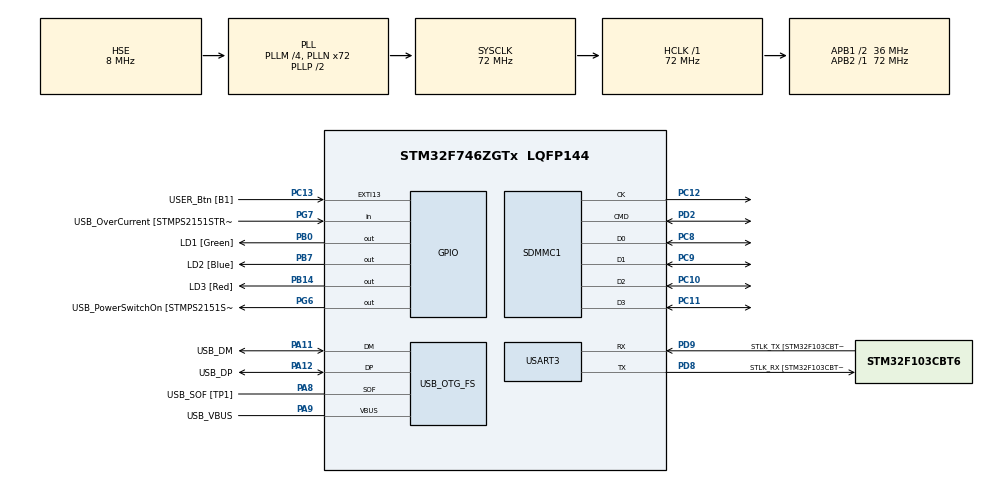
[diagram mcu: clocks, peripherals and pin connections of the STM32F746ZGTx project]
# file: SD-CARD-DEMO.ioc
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Dma.Request0=SDMMC1_RX
Dma.Request1=SDMMC1_TX
Dma.SDMMC1_RX.0.Direction=DMA_PERIPH_TO_MEMORY
Dma.SDMMC1_RX.0.FIFOMode=DMA_FIFOMODE_ENABLE
Dma.SDMMC1_RX.0.FIFOThreshold=DMA_FIFO_THRESHOLD_FULL
Dma.SDMMC1_RX.0.Instance=DMA2_Stream3
Dma.SDMMC1_RX.0.MemBurst=DMA_MBURST_INC4
Dma.SDMMC1_RX.0.MemDataAlignment=DMA_MDATAALIGN_WORD
Dma.SDMMC1_RX.0.MemInc=DMA_MINC_ENABLE
Dma.SDMMC1_RX.0.Mode=DMA_PFCTRL
Dma.SDMMC1_RX.0.PeriphBurst=DMA_PBURST_INC4
Dma.SDMMC1_RX.0.PeriphDataAlignment=DMA_PDATAALIGN_WORD
Dma.SDMMC1_RX.0.PeriphInc=DMA_PINC_DISABLE
Dma.SDMMC1_RX.0.Priority=DMA_PRIORITY_LOW
Dma.SDMMC1_TX.1.Direction=DMA_MEMORY_TO_PERIPH
Dma.SDMMC1_TX.1.FIFOMode=DMA_FIFOMODE_ENABLE
Dma.SDMMC1_TX.1.FIFOThreshold=DMA_FIFO_THRESHOLD_FULL
Dma.SDMMC1_TX.1.Instance=DMA2_Stream6
Dma.SDMMC1_TX.1.MemBurst=DMA_MBURST_INC4
Dma.SDMMC1_TX.1.MemDataAlignment=DMA_MDATAALIGN_WORD
Dma.SDMMC1_TX.1.MemInc=DMA_MINC_ENABLE
Dma.SDMMC1_TX.1.Mode=DMA_PFCTRL
Dma.SDMMC1_TX.1.PeriphBurst=DMA_PBURST_INC4
Dma.SDMMC1_TX.1.PeriphDataAlignment=DMA_PDATAALIGN_WORD
Dma.SDMMC1_TX.1.PeriphInc=DMA_PINC_DISABLE
Dma.SDMMC1_TX.1.Priority=DMA_PRIORITY_LOW
FATFS.USE_DMA_CODE_SD=1
Mcu.Family=STM32F7
Mcu.Name=STM32F746ZGTx
Mcu.Package=LQFP144
NVIC.DMA2_Stream3_IRQn=true\:0\:0\:false\:false\:true\:false\:true
NVIC.DMA2_Stream6_IRQn=true\:0\:0\:false\:false\:true\:false\:true
NVIC.PriorityGroup=NVIC_PRIORITYGROUP_4
NVIC.SDMMC1_IRQn=true\:0\:0\:false\:false\:true\:true\:true
PA1.GPIO_Label=RMII_REF_CLK [LAN8742A-CZ-TR_REFCLK0]
PA1.Signal=ETH_REF_CLK
PA10.GPIO_Label=USB_ID
PA10.Signal=USB_OTG_FS_ID
PA11.GPIO_Label=USB_DM
PA11.Mode=Device_Only
PA11.Signal=USB_OTG_FS_DM
PA12.GPIO_Label=USB_DP
PA12.Mode=Device_Only
PA12.Signal=USB_OTG_FS_DP
PA13.GPIO_Label=TMS
PA13.Mode=Serial_Wire
PA13.Signal=SYS_JTMS-SWDIO
PA14.GPIO_Label=TCK
PA14.Mode=Serial_Wire
PA14.Signal=SYS_JTCK-SWCLK
PA2.GPIO_Label=RMII_MDIO [LAN8742A-CZ-TR_MDIO]
PA2.Signal=ETH_MDIO
PA7.GPIO_Label=RMII_CRS_DV [LAN8742A-CZ-TR_CRS_DV]
PA7.Signal=ETH_CRS_DV
PA8.GPIO_Label=USB_SOF [TP1]
PA8.Mode=Activate_SOF_FS
PA8.Signal=USB_OTG_FS_SOF
PA9.GPIO_Label=USB_VBUS
PA9.Mode=Activate_VBUS
PA9.Signal=USB_OTG_FS_VBUS
PB0.GPIO_Label=LD1 [Green]
PB0.Signal=GPIO_Output
PB13.GPIO_Label=RMII_TXD1 [LAN8742A-CZ-TR_TXD1]
PB13.Signal=ETH_TXD1
PB14.GPIO_Label=LD3 [Red]
PB14.Signal=GPIO_Output
PB3.GPIO_Label=SW0
PB3.Signal=SYS_JTDO-SWO
PB7.GPIO_Label=LD2 [Blue]
PB7.Signal=GPIO_Output
PC1.GPIO_Label=RMII_MDC [LAN8742A-CZ-TR_MDC]
PC1.Signal=ETH_MDC
PC10.GPIO_PuPd=GPIO_NOPULL
PC10.Mode=SD_4_bits_Wide_bus
PC10.Signal=SDMMC1_D2
PC11.GPIO_PuPd=GPIO_NOPULL
PC11.Mode=SD_4_bits_Wide_bus
PC11.Signal=SDMMC1_D3
PC12.GPIO_PuPd=GPIO_NOPULL
PC12.Mode=SD_4_bits_Wide_bus
PC12.Signal=SDMMC1_CK
PC13.GPIO_Label=USER_Btn [B1]
PC13.Signal=GPXTI13
PC14/OSC32_IN.Mode=LSE-External-Oscillator
PC14/OSC32_IN.Signal=RCC_OSC32_IN
PC15/OSC32_OUT.Mode=LSE-External-Oscillator
PC15/OSC32_OUT.Signal=RCC_OSC32_OUT
PC4.GPIO_Label=RMII_RXD0 [LAN8742A-CZ-TR_RXD0]
PC4.Signal=ETH_RXD0
PC5.GPIO_Label=RMII_RXD1 [LAN8742A-CZ-TR_RXD1]
PC5.Signal=ETH_RXD1
PC8.GPIO_PuPd=GPIO_NOPULL
PC8.Mode=SD_4_bits_Wide_bus
PC8.Signal=SDMMC1_D0
PC9.GPIO_PuPd=GPIO_NOPULL
PC9.Mode=SD_4_bits_Wide_bus
PC9.Signal=SDMMC1_D1
PD2.GPIO_PuPd=GPIO_NOPULL
PD2.Mode=SD_4_bits_Wide_bus
PD2.Signal=SDMMC1_CMD
PD8.GPIO_Label=STLK_RX [STM32F103CBT6_PA3]
PD8.Mode=Asynchronous
PD8.Signal=USART3_TX
PD9.GPIO_Label=STLK_TX [STM32F103CBT6_PA2]
PD9.Mode=Asynchronous
PD9.Signal=USART3_RX
PG11.GPIO_Label=RMII_TX_EN [LAN8742A-CZ-TR_TXEN]
PG11.Signal=ETH_TX_EN
PG13.GPIO_Label=RMII_TXD0 [LAN8742A-CZ-TR_TXD0]
PG13.Signal=ETH_TXD0
PG6.GPIO_Label=USB_PowerSwitchOn [STMPS2151STR_EN]
PG6.Signal=GPIO_Output
PG7.GPIO_Label=USB_OverCurrent [STMPS2151STR_FAULT]
PG7.Signal=GPIO_Input
PH0/OSC_IN.GPIO_Label=MCO [STM32F103CBT6_PA8]
PH0/OSC_IN.Mode=HSE-External-Clock-Source
PH0/OSC_IN.Signal=RCC_OSC_IN
PH1/OSC_OUT.Mode=HSE-External-Clock-Source
PH1/OSC_OUT.Signal=RCC_OSC_OUT
ProjectManager.HeapSize=0x200
ProjectManager.StackSize=0x400
ProjectManager.TargetToolchain=STM32CubeIDE
RCC.48MHZClocksFreq_Value=24000000
RCC.AHBFreq_Value=72000000
RCC.APB1CLKDivider=RCC_HCLK_DIV2
RCC.APB1Freq_Value=36000000
RCC.APB1TimFreq_Value=72000000
RCC.APB2Freq_Value=72000000
RCC.APB2TimFreq_Value=72000000
RCC.CortexFreq_Value=72000000
RCC.EnbaleCSS=true
RCC.HCLKFreq_Value=72000000
RCC.HSE_VALUE=8000000
RCC.HSI_VALUE=16000000
RCC.PLLM=4
RCC.PLLMUL=RCC_PLL_MUL9
RCC.PLLN=72
RCC.PLLQ=3
RCC.PRESCALERUSB=RCC_USBCLKSOURCE_PLL_DIV1_5
RCC.SDMMCClockSelection=RCC_SDMMC1CLKSOURCE_CLK48
RCC.SYSCLKFreq_VALUE=72000000
RCC.SYSCLKSource=RCC_SYSCLKSOURCE_PLLCLK
RCC.SYSCLKSourceVirtual=RCC_SYSCLKSOURCE_PLLCLK
RCC.USBFreq_Value=48000000
RCC.VCOOutputFreq_Value=144000000
SDMMC1.ClockBypass=SDMMC_CLOCK_BYPASS_DISABLE
SDMMC1.ClockDiv=4
USART3.VirtualMode-Asynchronous=VM_ASYNC
USB_OTG_FS.VirtualMode=Device_Only
VP_FATFS_VS_SDIO.Mode=SDIO
board=NUCLEO-F746ZG

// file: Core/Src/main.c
/* USER CODE BEGIN Header */
/**
  ******************************************************************************
  * @file           : main.c
  * @brief          : Main program body
  ******************************************************************************
  * @attention
  *
  * Copyright (c) 2022 STMicroelectronics.
  * All rights reserved.
  *
  * This software is licensed under terms that can be found in the LICENSE file
  * in the root directory of this software component.
  * If no LICENSE file comes with this software, it is provided AS-IS.
  *
  ******************************************************************************
  */
/* USER CODE END Header */
#include "main.h"
#include "fatfs.h"

SD_HandleTypeDef hsd1;
DMA_HandleTypeDef hdma_sdmmc1_rx;
DMA_HandleTypeDef hdma_sdmmc1_tx;

UART_HandleTypeDef huart3;

PCD_HandleTypeDef hpcd_USB_OTG_FS;

void SystemClock_Config(void);
static void MX_GPIO_Init(void);
static void MX_USART3_UART_Init(void);
static void MX_USB_OTG_FS_PCD_Init(void);
static void MX_DMA_Init(void);
static void MX_SDMMC1_SD_Init(void);
/* USER CODE BEGIN PFP */
FRESULT init_file_system();
/* USER CODE END PFP */

int main(void)
{

  /* MCU Configuration--------------------------------------------------------*/

  /* Reset of all peripherals, Initializes the Flash interface and the Systick. */
  HAL_Init();

  /* Configure the system clock */
  SystemClock_Config();

  /* Initialize all configured peripherals */
  MX_GPIO_Init();
  MX_USART3_UART_Init();
  MX_USB_OTG_FS_PCD_Init();
  MX_DMA_Init();
  MX_SDMMC1_SD_Init();
  MX_FATFS_Init();
  /* USER CODE BEGIN 2 */

  FRESULT init = init_file_system();

  // ustaiwnie wskaźnika zapisu/odczytu na początku pliku
  FRESULT status_lseek = f_lseek(&SDFile, 0);

  // przygotowanie buffora do którego zapiszemy dane
  const uint32_t str_form_sd_len = 64;
  char buffer_fom_sd[64] = {0};

  // odczyt do '\n' znaku z pliku do buffora o maksymalnej długości str_form_sd_len
  f_gets(buffer_fom_sd, str_form_sd_len, &SDFile);

  // read specific number of bytes alternative.
  // If the file needs to be read fast, it should be read in large chunk as possible.
  f_lseek(&SDFile, 0);
  uint16_t bytes_to_read = 30;
  uint16_t bytes_read;
  f_read(&SDFile, buffer_fom_sd, bytes_to_read, &bytes_read);

  //gets the current read/write pointer of a file
  uint32_t char_in_file = f_tell(&SDFile);

  // ustawienie wskaźnika zapisu/odczytu na końcu pliku
  f_lseek(&SDFile, f_size(&SDFile));

  uint32_t counter = 0;
  uint16_t sd_card_save_buff_size = 256;
  char sd_card_save_buff[256];

  /* USER CODE END 2 */

  /* Infinite loop */
  while (1)
  {

    /* USER CODE BEGIN 3 */

	// zapis na kartę sd:
	f_printf(&SDFile, "Demonstracyjny zapis na kartę SD %d \n", counter++);

	uint16_t bytes_to_write = snprintf(sd_card_save_buff, sd_card_save_buff_size, "Demosntracyjny zapis na karte typ II %d \n", counter);
	uint16_t number_of_bytes_writen = 0;
	f_write(&SDFile, sd_card_save_buff, bytes_to_write, &number_of_bytes_writen);
	f_sync(&SDFile);

	  HAL_Delay(1000);
  }
  /* USER CODE END 3 */
}

void SystemClock_Config(void)
{
  RCC_OscInitTypeDef RCC_OscInitStruct = {0};
  RCC_ClkInitTypeDef RCC_ClkInitStruct = {0};

  /** Configure LSE Drive Capability
  */
  HAL_PWR_EnableBkUpAccess();
  /** Configure the main internal regulator output voltage
  */
  __HAL_RCC_PWR_CLK_ENABLE();
  __HAL_PWR_VOLTAGESCALING_CONFIG(PWR_REGULATOR_VOLTAGE_SCALE3);
  /** Initializes the RCC Oscillators according to the specified parameters
  * in the RCC_OscInitTypeDef structure.
  */
  RCC_OscInitStruct.OscillatorType = RCC_OSCILLATORTYPE_HSE;
  RCC_OscInitStruct.HSEState = RCC_HSE_BYPASS;
  RCC_OscInitStruct.PLL.PLLState = RCC_PLL_ON;
  RCC_OscInitStruct.PLL.PLLSource = RCC_PLLSOURCE_HSE;
  RCC_OscInitStruct.PLL.PLLM = 4;
  RCC_OscInitStruct.PLL.PLLN = 72;
  RCC_OscInitStruct.PLL.PLLP = RCC_PLLP_DIV2;
  RCC_OscInitStruct.PLL.PLLQ = 3;
  if (HAL_RCC_OscConfig(&RCC_OscInitStruct) != HAL_OK)
  {
    Error_Handler();
  }
  /** Initializes the CPU, AHB and APB buses clocks
  */
  RCC_ClkInitStruct.ClockType = RCC_CLOCKTYPE_HCLK|RCC_CLOCKTYPE_SYSCLK
                              |RCC_CLOCKTYPE_PCLK1|RCC_CLOCKTYPE_PCLK2;
  RCC_ClkInitStruct.SYSCLKSource = RCC_SYSCLKSOURCE_PLLCLK;
  RCC_ClkInitStruct.AHBCLKDivider = RCC_SYSCLK_DIV1;
  RCC_ClkInitStruct.APB1CLKDivider = RCC_HCLK_DIV2;
  RCC_ClkInitStruct.APB2CLKDivider = RCC_HCLK_DIV1;

  if (HAL_RCC_ClockConfig(&RCC_ClkInitStruct, FLASH_LATENCY_2) != HAL_OK)
  {
    Error_Handler();
  }
  /** Enables the Clock Security System
  */
  HAL_RCC_EnableCSS();
}

static void MX_SDMMC1_SD_Init(void)
{

  hsd1.Instance = SDMMC1;
  hsd1.Init.ClockEdge = SDMMC_CLOCK_EDGE_RISING;
  hsd1.Init.ClockBypass = SDMMC_CLOCK_BYPASS_DISABLE;
  hsd1.Init.ClockPowerSave = SDMMC_CLOCK_POWER_SAVE_DISABLE;
  hsd1.Init.BusWide = SDMMC_BUS_WIDE_1B;
  hsd1.Init.HardwareFlowControl = SDMMC_HARDWARE_FLOW_CONTROL_DISABLE;
  hsd1.Init.ClockDiv = 4;

}

static void MX_USART3_UART_Init(void)
{

  huart3.Instance = USART3;
  huart3.Init.BaudRate = 115200;
  huart3.Init.WordLength = UART_WORDLENGTH_8B;
  huart3.Init.StopBits = UART_STOPBITS_1;
  huart3.Init.Parity = UART_PARITY_NONE;
  huart3.Init.Mode = UART_MODE_TX_RX;
  huart3.Init.HwFlowCtl = UART_HWCONTROL_NONE;
  huart3.Init.OverSampling = UART_OVERSAMPLING_16;
  huart3.Init.OneBitSampling = UART_ONE_BIT_SAMPLE_DISABLE;
  huart3.AdvancedInit.AdvFeatureInit = UART_ADVFEATURE_NO_INIT;
  if (HAL_UART_Init(&huart3) != HAL_OK)
  {
    Error_Handler();
  }

}

static void MX_USB_OTG_FS_PCD_Init(void)
{

  hpcd_USB_OTG_FS.Instance = USB_OTG_FS;
  hpcd_USB_OTG_FS.Init.dev_endpoints = 6;
  hpcd_USB_OTG_FS.Init.speed = PCD_SPEED_FULL;
  hpcd_USB_OTG_FS.Init.dma_enable = DISABLE;
  hpcd_USB_OTG_FS.Init.phy_itface = PCD_PHY_EMBEDDED;
  hpcd_USB_OTG_FS.Init.Sof_enable = ENABLE;
  hpcd_USB_OTG_FS.Init.low_power_enable = DISABLE;
  hpcd_USB_OTG_FS.Init.lpm_enable = DISABLE;
  hpcd_USB_OTG_FS.Init.vbus_sensing_enable = ENABLE;
  hpcd_USB_OTG_FS.Init.use_dedicated_ep1 = DISABLE;
  if (HAL_PCD_Init(&hpcd_USB_OTG_FS) != HAL_OK)
  {
    Error_Handler();
  }

}

static void MX_DMA_Init(void)
{

  /* DMA controller clock enable */
  __HAL_RCC_DMA2_CLK_ENABLE();

  /* DMA interrupt init */
  /* DMA2_Stream3_IRQn interrupt configuration */
  HAL_NVIC_SetPriority(DMA2_Stream3_IRQn, 0, 0);
  HAL_NVIC_EnableIRQ(DMA2_Stream3_IRQn);
  /* DMA2_Stream6_IRQn interrupt configuration */
  HAL_NVIC_SetPriority(DMA2_Stream6_IRQn, 0, 0);
  HAL_NVIC_EnableIRQ(DMA2_Stream6_IRQn);

}

static void MX_GPIO_Init(void)
{
  GPIO_InitTypeDef GPIO_InitStruct = {0};

  /* GPIO Ports Clock Enable */
  __HAL_RCC_GPIOC_CLK_ENABLE();
  __HAL_RCC_GPIOH_CLK_ENABLE();
  __HAL_RCC_GPIOA_CLK_ENABLE();
  __HAL_RCC_GPIOB_CLK_ENABLE();
  __HAL_RCC_GPIOD_CLK_ENABLE();
  __HAL_RCC_GPIOG_CLK_ENABLE();

  /*Configure GPIO pin Output Level */
  HAL_GPIO_WritePin(GPIOB, LD1_Pin|LD3_Pin|LD2_Pin, GPIO_PIN_RESET);

  /*Configure GPIO pin Output Level */
  HAL_GPIO_WritePin(USB_PowerSwitchOn_GPIO_Port, USB_PowerSwitchOn_Pin, GPIO_PIN_RESET);

  /*Configure GPIO pin : USER_Btn_Pin */
  GPIO_InitStruct.Pin = USER_Btn_Pin;
  GPIO_InitStruct.Mode = GPIO_MODE_IT_RISING;
  GPIO_InitStruct.Pull = GPIO_NOPULL;
  HAL_GPIO_Init(USER_Btn_GPIO_Port, &GPIO_InitStruct);

  /*Configure GPIO pins : RMII_MDC_Pin RMII_RXD0_Pin RMII_RXD1_Pin */
  GPIO_InitStruct.Pin = RMII_MDC_Pin|RMII_RXD0_Pin|RMII_RXD1_Pin;
  GPIO_InitStruct.Mode = GPIO_MODE_AF_PP;
  GPIO_InitStruct.Pull = GPIO_NOPULL;
  GPIO_InitStruct.Speed = GPIO_SPEED_FREQ_VERY_HIGH;
  GPIO_InitStruct.Alternate = GPIO_AF11_ETH;
  HAL_GPIO_Init(GPIOC, &GPIO_InitStruct);

  /*Configure GPIO pins : RMII_REF_CLK_Pin RMII_MDIO_Pin RMII_CRS_DV_Pin */
  GPIO_InitStruct.Pin = RMII_REF_CLK_Pin|RMII_MDIO_Pin|RMII_CRS_DV_Pin;
  GPIO_InitStruct.Mode = GPIO_MODE_AF_PP;
  GPIO_InitStruct.Pull = GPIO_NOPULL;
  GPIO_InitStruct.Speed = GPIO_SPEED_FREQ_VERY_HIGH;
  GPIO_InitStruct.Alternate = GPIO_AF11_ETH;
  HAL_GPIO_Init(GPIOA, &GPIO_InitStruct);

  /*Configure GPIO pins : LD1_Pin LD3_Pin LD2_Pin */
  GPIO_InitStruct.Pin = LD1_Pin|LD3_Pin|LD2_Pin;
  GPIO_InitStruct.Mode = GPIO_MODE_OUTPUT_PP;
  GPIO_InitStruct.Pull = GPIO_NOPULL;
  GPIO_InitStruct.Speed = GPIO_SPEED_FREQ_LOW;
  HAL_GPIO_Init(GPIOB, &GPIO_InitStruct);

  /*Configure GPIO pin : RMII_TXD1_Pin */
  GPIO_InitStruct.Pin = RMII_TXD1_Pin;
  GPIO_InitStruct.Mode = GPIO_MODE_AF_PP;
  GPIO_InitStruct.Pull = GPIO_NOPULL;
  GPIO_InitStruct.Speed = GPIO_SPEED_FREQ_VERY_HIGH;
  GPIO_InitStruct.Alternate = GPIO_AF11_ETH;
  HAL_GPIO_Init(RMII_TXD1_GPIO_Port, &GPIO_InitStruct);

  /*Configure GPIO pin : USB_PowerSwitchOn_Pin */
  GPIO_InitStruct.Pin = USB_PowerSwitchOn_Pin;
  GPIO_InitStruct.Mode = GPIO_MODE_OUTPUT_PP;
  GPIO_InitStruct.Pull = GPIO_NOPULL;
  GPIO_InitStruct.Speed = GPIO_SPEED_FREQ_LOW;
  HAL_GPIO_Init(USB_PowerSwitchOn_GPIO_Port, &GPIO_InitStruct);

  /*Configure GPIO pin : USB_OverCurrent_Pin */
  GPIO_InitStruct.Pin = USB_OverCurrent_Pin;
  GPIO_InitStruct.Mode = GPIO_MODE_INPUT;
  GPIO_InitStruct.Pull = GPIO_NOPULL;
  HAL_GPIO_Init(USB_OverCurrent_GPIO_Port, &GPIO_InitStruct);

  /*Configure GPIO pins : RMII_TX_EN_Pin RMII_TXD0_Pin */
  GPIO_InitStruct.Pin = RMII_TX_EN_Pin|RMII_TXD0_Pin;
  GPIO_InitStruct.Mode = GPIO_MODE_AF_PP;
  GPIO_InitStruct.Pull = GPIO_NOPULL;
  GPIO_InitStruct.Speed = GPIO_SPEED_FREQ_VERY_HIGH;
  GPIO_InitStruct.Alternate = GPIO_AF11_ETH;
  HAL_GPIO_Init(GPIOG, &GPIO_InitStruct);

}

/* USER CODE BEGIN 4 */
FRESULT init_file_system(){

	FRESULT res =  f_mount(&SDFatFS, SDPath, 0);
	if(FR_OK != res){
		return res;
	}

	res =  f_open(&SDFile, "T.txt", FA_OPEN_APPEND | FA_WRITE | FA_READ);
	if(FR_OK != res){
		return res;
	}

	res = f_lseek(&SDFile, f_size(&SDFile));
	return res;
}
/* USER CODE END 4 */

void Error_Handler(void)
{
  __disable_irq();
  while (1)
  {
  }
}
